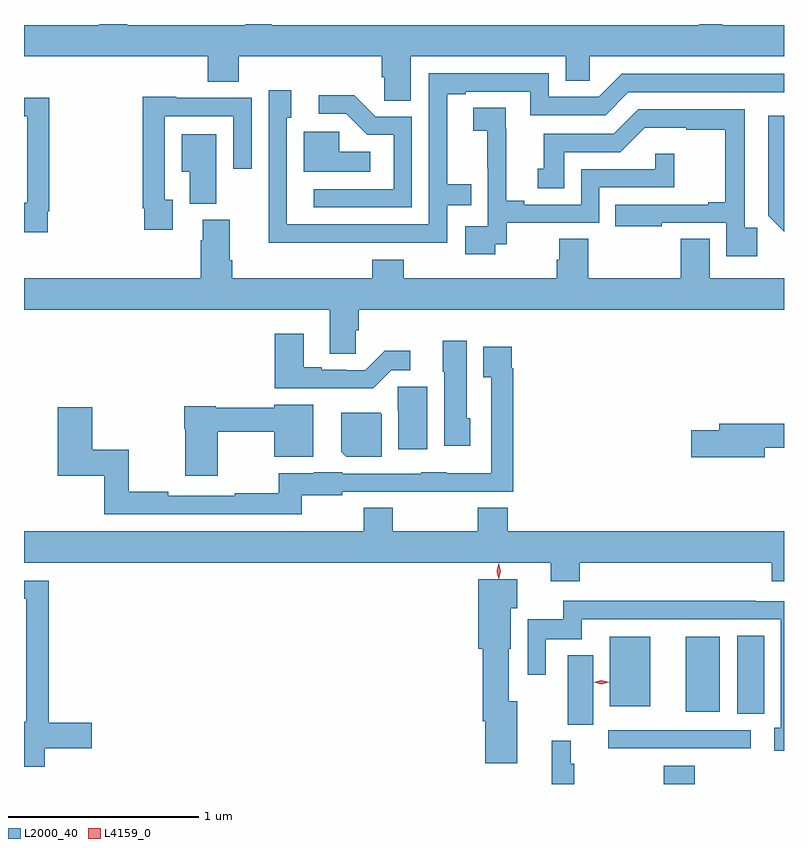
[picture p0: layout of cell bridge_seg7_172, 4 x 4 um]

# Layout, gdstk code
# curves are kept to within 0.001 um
import gdstk
lib = gdstk.Library(unit=1e-6, precision=1e-09)
def R(c, l, rs):  # rectangles x0, y0, x1, y1
    for r in rs: c.add(gdstk.rectangle(r[:2], r[2:], *l))
def P(c, l, *ps):  # polygons
    for p in ps: c.add(gdstk.Polygon(p, *l))
L2000_40 = (2000, 40)
L4159_0 = (4159, 0)

bridge_seg7_172 = lib.new_cell('bridge_seg7_172')
R(bridge_seg7_172, L2000_40, [(401.621,1050.067,401.786,1050.163), (401.331,1050.255,402.079,1050.351), (401.117,1050.379,401.251,1050.745), (402.008,1050.436,402.151,1050.848), (401.738,1050.446,401.917,1050.841), (401.339,1050.476,401.551,1050.841)])
P(bridge_seg7_172, L2000_40, [(400.291,1053.896),(401.105,1053.896),(401.105,1053.769),(401.232,1053.769),(401.232,1053.896),(402.255,1053.896),(402.255,1054.06),(401.929,1054.06),(401.929,1054.067),(401.808,1054.067),(401.808,1054.06),(399.559,1054.06),(399.559,1054.067),(399.419,1054.067),(399.419,1054.06),(398.799,1054.06),(398.799,1054.067),(398.651,1054.067),(398.651,1054.06),(398.255,1054.06),(398.255,1053.896),(399.221,1053.896),(399.221,1053.763),(399.386,1053.763),(399.386,1053.896),(400.139,1053.896),(400.139,1053.787),(400.152,1053.787),(400.152,1053.664),(400.291,1053.664)],
  [(400.004,1052.916),(400.482,1052.916),(400.482,1053.114),(400.61,1053.114),(400.61,1053.223),(400.483,1053.223),(400.483,1053.696),(400.579,1053.696),(400.579,1053.711),(400.92,1053.711),(400.92,1053.588),(401.316,1053.588),(401.436,1053.708),(402.255,1053.708),(402.255,1053.804),(401.4,1053.804),(401.28,1053.684),(401.016,1053.684),(401.016,1053.807),(400.386,1053.807),(400.386,1053.012),(399.639,1053.012),(399.639,1053.573),(399.661,1053.573),(399.661,1053.718),(399.543,1053.718),(399.542,1052.915)],
  [(400.296,1053.579),(400.107,1053.579),(399.994,1053.692),(399.807,1053.692),(399.807,1053.594),(399.951,1053.594),(400.062,1053.483),(400.2,1053.483),(400.2,1053.198),(399.78,1053.198),(399.78,1053.102),(400.296,1053.102)],
  [(399.037,1053.141),(398.997,1053.141),(398.997,1053.582),(399.357,1053.582),(399.357,1053.306),(399.453,1053.306),(399.453,1053.678),(399.057,1053.678),(399.057,1053.685),(398.881,1053.685),(398.881,1053.097),(398.889,1053.097),(398.889,1052.985),(399.037,1052.985)],
  [(398.38,1053.082),(398.387,1053.082),(398.387,1053.68),(398.255,1053.68),(398.255,1053.582),(398.271,1053.582),(398.271,1053.126),(398.255,1053.126),(398.255,1052.97),(398.38,1052.97)],
  [(400.734,1052.907),(400.796,1052.907),(400.796,1053.021),(401.283,1053.021),(401.283,1053.207),(401.678,1053.207),(401.678,1053.385),(401.577,1053.385),(401.577,1053.303),(401.187,1053.303),(401.187,1053.117),(400.888,1053.117),(400.888,1053.137),(400.792,1053.137),(400.792,1053.515),(400.79,1053.515),(400.79,1053.626),(400.62,1053.626),(400.62,1053.505),(400.694,1053.505),(400.694,1053.307),(400.695,1053.307),(400.695,1053.003),(400.578,1053.003),(400.578,1052.856),(400.734,1052.856)],
  [(402.113,1052.995),(402.048,1052.995),(402.048,1053.618),(401.487,1053.618),(401.358,1053.489),(400.991,1053.489),(400.991,1053.306),(400.958,1053.306),(400.958,1053.202),(401.098,1053.202),(401.098,1053.393),(401.394,1053.393),(401.522,1053.521),(401.741,1053.521),(401.741,1053.51),(401.947,1053.51),(401.947,1053.13),(401.855,1053.13),(401.855,1053.117),(401.368,1053.117),(401.368,1053.002),(401.611,1053.002),(401.611,1053.021),(401.952,1053.021),(401.952,1052.844),(402.113,1052.844)],
  [(402.255,1053.583),(402.171,1053.583),(402.171,1053.058),(402.255,1052.974)],
  [(400.078,1053.394),(399.915,1053.394),(399.915,1053.501),(399.728,1053.501),(399.728,1053.29),(400.078,1053.29)],
  [(399.268,1053.487),(399.086,1053.487),(399.086,1053.29),(399.128,1053.29),(399.128,1053.121),(399.268,1053.121)],
  [(400.002,1052.454),(400.016,1052.454),(400.016,1052.564),(402.255,1052.564),(402.255,1052.728),(401.863,1052.728),(401.863,1052.936),(401.711,1052.936),(401.711,1052.728),(401.225,1052.728),(401.225,1052.936),(401.072,1052.936),(401.072,1052.826),(401.06,1052.826),(401.06,1052.728),(400.253,1052.728),(400.253,1052.827),(400.088,1052.827),(400.088,1052.728),(399.35,1052.728),(399.35,1052.824),(399.337,1052.824),(399.337,1053.036),(399.197,1053.036),(399.197,1052.93),(399.185,1052.93),(399.185,1052.728),(398.255,1052.728),(398.255,1052.564),(399.863,1052.564),(399.863,1052.332),(400.002,1052.332)],
  [(400.188,1052.244),(400.288,1052.244),(400.288,1052.347),(400.153,1052.347),(400.05,1052.244),(399.95,1052.244),(399.95,1052.247),(399.823,1052.247),(399.823,1052.26),(399.727,1052.26),(399.727,1052.437),(399.575,1052.437),(399.575,1052.15),(400.093,1052.15)],
  [(400.603,1051.992),(400.585,1051.992),(400.585,1052.401),(400.46,1052.401),(400.46,1052.238),(400.466,1052.238),(400.466,1051.848),(400.603,1051.848)],
  [(399.718,1051.586),(399.93,1051.586),(399.93,1051.605),(400.347,1051.605),(400.347,1051.604),(400.579,1051.604),(400.579,1051.605),(400.829,1051.605),(400.829,1052.255),(400.822,1052.255),(400.822,1052.368),(400.673,1052.368),(400.673,1052.207),(400.713,1052.207),(400.713,1051.702),(400.479,1051.702),(400.479,1051.708),(400.347,1051.708),(400.347,1051.701),(399.93,1051.701),(399.93,1051.708),(399.78,1051.708),(399.78,1051.702),(399.597,1051.702),(399.597,1051.597),(399.364,1051.597),(399.364,1051.584),(399.014,1051.584),(399.014,1051.604),(398.806,1051.604),(398.806,1051.826),(398.615,1051.826),(398.615,1052.05),(398.432,1052.05),(398.432,1051.69),(398.677,1051.69),(398.677,1051.488),(399.718,1051.488)],
  [(400.378,1052.157),(400.222,1052.157),(400.222,1052.034),(400.226,1052.034),(400.226,1051.83),(400.378,1051.83)],
  [(399.276,1051.92),(399.572,1051.92),(399.572,1051.79),(399.778,1051.79),(399.778,1052.062),(399.572,1052.062),(399.572,1052.048),(399.264,1052.048),(399.264,1052.056),(399.098,1052.056),(399.098,1051.937),(399.103,1051.937),(399.103,1051.689),(399.276,1051.689)],
  [(400.138,1052.012),(400.13,1052.02),(399.926,1052.02),(399.926,1051.816),(399.952,1051.79),(400.138,1051.79)],
  [(402.154,1051.836),(402.255,1051.836),(402.255,1051.964),(401.915,1051.964),(401.915,1051.928),(401.766,1051.928),(401.766,1051.786),(402.154,1051.786)],
  [(401.18,1051.232),(402.191,1051.232),(402.191,1051.133),(402.255,1051.133),(402.255,1051.396),(400.802,1051.396),(400.802,1051.52),(400.642,1051.52),(400.642,1051.396),(400.197,1051.396),(400.197,1051.52),(400.042,1051.52),(400.042,1051.396),(398.255,1051.396),(398.255,1051.232),(401.027,1051.232),(401.027,1051.133),(401.18,1051.133)],
  [(400.852,1050.502),(400.807,1050.502),(400.807,1050.78),(400.816,1050.78),(400.816,1050.993),(400.851,1050.993),(400.851,1051.144),(400.646,1051.144),(400.646,1050.78),(400.67,1050.78),(400.67,1050.398),(400.682,1050.398),(400.682,1050.176),(400.852,1050.176)],
  [(398.365,1050.254),(398.611,1050.254),(398.611,1050.389),(398.384,1050.389),(398.384,1051.137),(398.255,1051.137),(398.255,1051.041),(398.268,1051.041),(398.268,1050.394),(398.255,1050.394),(398.255,1050.158),(398.365,1050.158)],
  [(402.255,1051.029),(402.107,1051.029),(402.107,1051.031),(401.092,1051.031),(401.092,1050.933),(400.906,1050.933),(400.906,1050.642),(401.001,1050.642),(401.001,1050.83),(401.191,1050.83),(401.191,1050.933),(402.239,1050.933),(402.239,1050.363),(402.203,1050.363),(402.203,1050.243),(402.255,1050.243)],
  [(401.15,1050.173),(401.132,1050.173),(401.132,1050.294),(401.033,1050.294),(401.033,1050.067),(401.15,1050.067)])
P(bridge_seg7_172, L4159_0, [(401.294,1050.592),(401.253,1050.602),(401.253,1050.602),(401.253,1050.602),(401.294,1050.612),(401.334,1050.603),(401.335,1050.603),(401.334,1050.603)],
  [(400.753,1051.147),(400.753,1051.147),(400.744,1051.187),(400.754,1051.228),(400.754,1051.228),(400.754,1051.228),(400.764,1051.187),(400.753,1051.147)])

lib.write_gds('bridge_seg7_172.gds')
